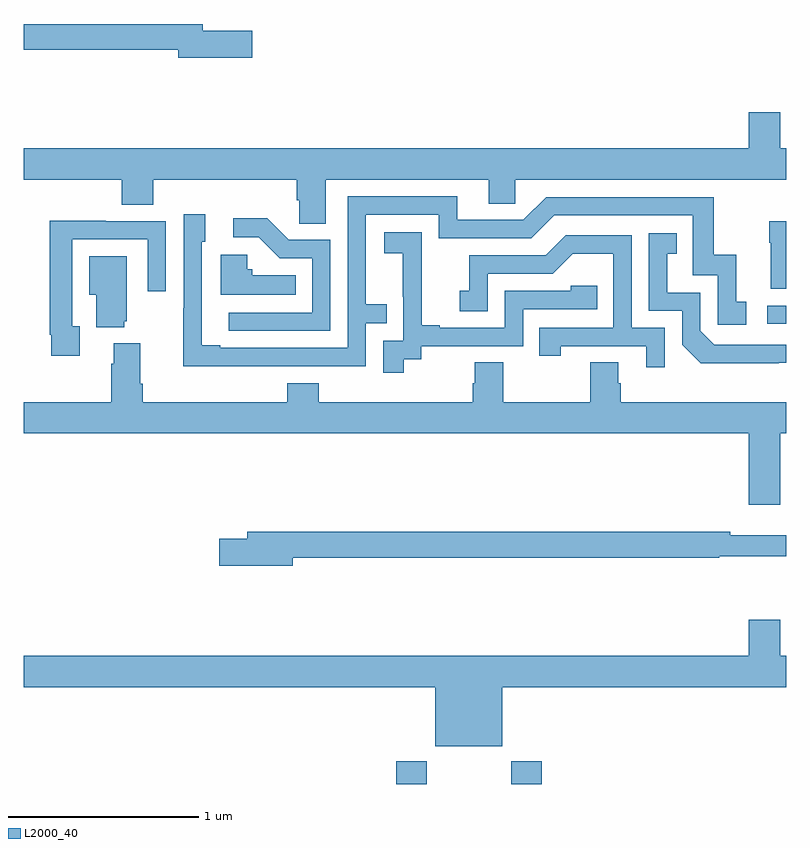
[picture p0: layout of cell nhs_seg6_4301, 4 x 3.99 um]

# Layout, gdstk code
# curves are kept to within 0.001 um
import gdstk
lib = gdstk.Library(unit=1e-6, precision=1e-09)
def R(c, l, rs):  # rectangles x0, y0, x1, y1
    for r in rs: c.add(gdstk.rectangle(r[:2], r[2:], *l))
def P(c, l, *ps):  # polygons
    for p in ps: c.add(gdstk.Polygon(p, *l))
L2000_40 = (2000, 40)

nhs_seg6_4301 = lib.new_cell('nhs_seg6_4301')
R(nhs_seg6_4301, L2000_40, [(366.953,941.5,367.113,941.62), (367.558,941.5,367.718,941.62), (368.901,943.914,369,944.01)])
P(nhs_seg6_4301, L2000_40, [(366.199,945.452),(365.938,945.452),(365.938,945.488),(365,945.488),(365,945.352),(365.81,945.352),(365.81,945.31),(366.199,945.31)],
  [(366.583,944.672),(367.439,944.672),(367.439,944.545),(367.578,944.545),(367.578,944.672),(369,944.672),(369,944.836),(368.968,944.836),(368.968,945.025),(368.804,945.025),(368.804,944.836),(365,944.836),(365,944.672),(365.513,944.672),(365.513,944.539),(365.678,944.539),(365.678,944.672),(366.431,944.672),(366.431,944.563),(366.444,944.563),(366.444,944.44),(366.583,944.44)],
  [(366.299,943.692),(366.795,943.692),(366.795,943.917),(366.905,943.917),(366.905,944.018),(366.795,944.018),(366.795,944.487),(367.176,944.487),(367.176,944.364),(367.662,944.364),(367.782,944.484),(368.511,944.484),(368.511,944.169),(368.64,944.169),(368.64,943.911),(368.791,943.911),(368.791,944.031),(368.738,944.031),(368.738,944.278),(368.62,944.278),(368.62,944.58),(367.74,944.58),(367.62,944.46),(367.273,944.46),(367.273,944.583),(366.699,944.583),(366.699,943.788),(366.031,943.788),(366.031,943.801),(365.934,943.801),(365.934,944.346),(365.953,944.346),(365.953,944.491),(365.838,944.491),(365.838,943.997),(365.836,943.997),(365.836,943.691)],
  [(366.609,944.355),(366.39,944.355),(366.277,944.468),(366.099,944.468),(366.099,944.37),(366.233,944.37),(366.344,944.259),(366.513,944.259),(366.513,943.974),(366.075,943.974),(366.075,943.878),(366.609,943.878)],
  [(365.293,943.902),(365.253,943.902),(365.253,944.358),(365.649,944.358),(365.649,944.085),(365.745,944.085),(365.745,944.454),(365.429,944.454),(365.429,944.456),(365.137,944.456),(365.137,943.858),(365.145,943.858),(365.145,943.746),(365.293,943.746)],
  [(369,944.452),(368.911,944.452),(368.911,944.339),(368.918,944.339),(368.918,944.099),(369,944.099)],
  [(366.994,943.729),(367.086,943.729),(367.086,943.797),(367.62,943.797),(367.62,943.992),(368.009,943.992),(368.009,944.115),(367.869,944.115),(367.869,944.088),(367.524,944.088),(367.524,943.893),(367.183,943.893),(367.183,943.906),(367.088,943.906),(367.088,944.189),(367.089,944.189),(367.089,944.395),(366.891,944.395),(366.891,944.285),(366.989,944.285),(366.989,944.057),(366.99,944.057),(366.99,943.827),(366.885,943.827),(366.885,943.659),(366.994,943.659)],
  [(368.96,943.71),(369,943.71),(369,943.806),(368.622,943.806),(368.55,943.878),(368.55,944.079),(368.377,944.079),(368.377,944.283),(368.426,944.283),(368.426,944.389),(368.28,944.389),(368.28,943.983),(368.454,943.983),(368.454,943.806),(368.552,943.709)],
  [(368.364,943.893),(368.19,943.893),(368.19,944.379),(367.844,944.379),(367.739,944.274),(367.336,944.274),(367.336,944.089),(367.287,944.089),(367.287,943.98),(367.434,943.98),(367.434,944.178),(367.776,944.178),(367.88,944.282),(368.094,944.282),(368.094,943.893),(367.705,943.893),(367.705,943.746),(367.816,943.746),(367.816,943.797),(368.267,943.797),(368.267,943.686),(368.364,943.686)],
  [(366.428,944.17),(366.198,944.17),(366.198,944.202),(366.171,944.202),(366.171,944.278),(366.032,944.278),(366.032,944.066),(366.428,944.066)],
  [(365.528,943.929),(365.539,943.929),(365.539,944.269),(365.342,944.269),(365.342,944.066),(365.381,944.066),(365.381,943.898),(365.528,943.898)],
  [(368.968,943.34),(369,943.34),(369,943.504),(368.132,943.504),(368.132,943.602),(368.119,943.602),(368.119,943.712),(367.972,943.712),(367.972,943.504),(367.515,943.504),(367.515,943.712),(367.367,943.712),(367.367,943.602),(367.355,943.602),(367.355,943.504),(366.548,943.504),(366.548,943.603),(366.383,943.603),(366.383,943.504),(365.624,943.504),(365.624,943.6),(365.611,943.6),(365.611,943.813),(365.471,943.813),(365.471,943.706),(365.459,943.706),(365.459,943.504),(365,943.504),(365,943.34),(368.804,943.34),(368.804,942.966),(368.968,942.966)],
  [(366.412,942.688),(368.65,942.688),(368.65,942.696),(369,942.696),(369,942.805),(368.708,942.805),(368.708,942.824),(366.173,942.824),(366.173,942.788),(366.024,942.788),(366.024,942.646),(366.412,942.646)],
  [(367.51,942.008),(369,942.008),(369,942.172),(368.968,942.172),(368.968,942.361),(368.804,942.361),(368.804,942.172),(365,942.172),(365,942.008),(367.16,942.008),(367.16,941.699),(367.51,941.699)])

lib.write_gds('nhs_seg6_4301.gds')
